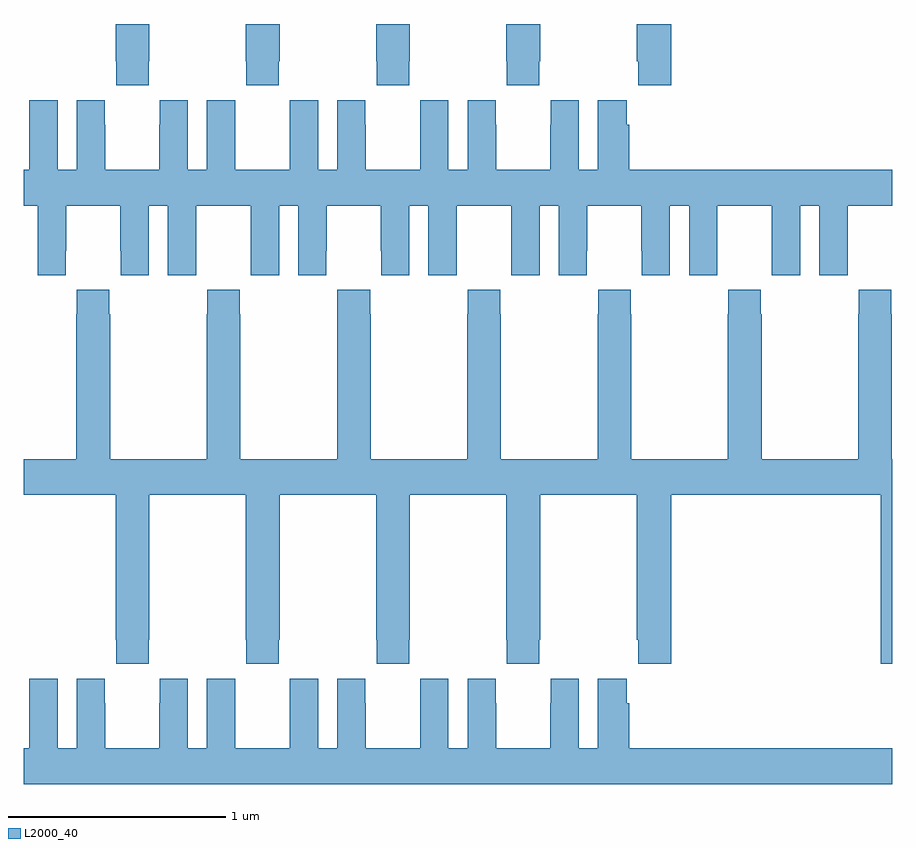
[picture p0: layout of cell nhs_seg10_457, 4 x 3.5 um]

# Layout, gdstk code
import gdstk
lib = gdstk.Library(unit=1e-6, precision=1e-09)
def P(c, l, *ps):  # polygons
    for p in ps: c.add(gdstk.Polygon(p, *l))
L2000_40 = (2000, 40)

nhs_seg10_457 = lib.new_cell('nhs_seg10_457')
P(nhs_seg10_457, L2000_40, [(133.575,1286.329),(133.578,1286.329),(133.578,1286.5),(133.423,1286.5),(133.423,1286.329),(133.425,1286.329),(133.425,1286.217),(133.575,1286.217)],
  [(134.175,1286.329),(134.178,1286.329),(134.178,1286.5),(134.023,1286.5),(134.023,1286.329),(134.025,1286.329),(134.025,1286.217),(134.175,1286.217)],
  [(134.775,1286.329),(134.778,1286.329),(134.778,1286.5),(134.623,1286.5),(134.623,1286.329),(134.625,1286.329),(134.625,1286.217),(134.775,1286.217)],
  [(135.983,1286.5),(135.823,1286.5),(135.823,1286.329),(135.829,1286.329),(135.829,1286.217),(135.983,1286.217)],
  [(135.375,1286.329),(135.378,1286.329),(135.378,1286.5),(135.223,1286.5),(135.223,1286.329),(135.225,1286.329),(135.225,1286.217),(135.375,1286.217)],
  [(134.045,1285.456),(134.046,1285.456),(134.046,1285.344),(134.176,1285.344),(134.176,1285.664),(134.264,1285.664),(134.264,1285.344),(134.394,1285.344),(134.394,1285.456),(134.395,1285.456),(134.395,1285.664),(134.645,1285.664),(134.645,1285.456),(134.646,1285.456),(134.646,1285.344),(134.776,1285.344),(134.776,1285.664),(134.864,1285.664),(134.864,1285.344),(134.994,1285.344),(134.994,1285.456),(134.995,1285.456),(134.995,1285.664),(135.245,1285.664),(135.245,1285.456),(135.246,1285.456),(135.246,1285.344),(135.376,1285.344),(135.376,1285.664),(135.464,1285.664),(135.464,1285.344),(135.594,1285.344),(135.594,1285.456),(135.595,1285.456),(135.595,1285.664),(135.845,1285.664),(135.845,1285.456),(135.846,1285.456),(135.846,1285.344),(135.976,1285.344),(135.976,1285.664),(136.064,1285.664),(136.064,1285.344),(136.194,1285.344),(136.194,1285.456),(136.195,1285.456),(136.195,1285.664),(136.445,1285.664),(136.445,1285.456),(136.446,1285.456),(136.446,1285.344),(136.576,1285.344),(136.576,1285.664),(136.664,1285.664),(136.664,1285.344),(136.794,1285.344),(136.794,1285.456),(136.795,1285.456),(136.795,1285.664),(137,1285.664),(137,1285.828),(135.788,1285.828),(135.788,1286.036),(135.778,1286.036),(135.778,1286.149),(135.644,1286.149),(135.644,1285.828),(135.556,1285.828),(135.556,1286.149),(135.426,1286.149),(135.426,1286.036),(135.425,1286.036),(135.425,1285.828),(135.175,1285.828),(135.175,1286.036),(135.174,1286.036),(135.174,1286.149),(135.044,1286.149),(135.044,1285.828),(134.956,1285.828),(134.956,1286.149),(134.826,1286.149),(134.826,1286.036),(134.825,1286.036),(134.825,1285.828),(134.575,1285.828),(134.575,1286.036),(134.574,1286.036),(134.574,1286.149),(134.444,1286.149),(134.444,1285.828),(134.356,1285.828),(134.356,1286.149),(134.226,1286.149),(134.226,1286.036),(134.225,1286.036),(134.225,1285.828),(133.975,1285.828),(133.975,1286.036),(133.974,1286.036),(133.974,1286.149),(133.844,1286.149),(133.844,1285.828),(133.756,1285.828),(133.756,1286.149),(133.626,1286.149),(133.626,1286.036),(133.625,1286.036),(133.625,1285.828),(133.375,1285.828),(133.375,1286.036),(133.374,1286.036),(133.374,1286.149),(133.244,1286.149),(133.244,1285.828),(133.156,1285.828),(133.156,1286.149),(133.026,1286.149),(133.026,1286.036),(133.025,1286.036),(133.025,1285.828),(133,1285.828),(133,1285.664),(133.064,1285.664),(133.064,1285.344),(133.194,1285.344),(133.194,1285.456),(133.195,1285.456),(133.195,1285.664),(133.445,1285.664),(133.445,1285.456),(133.446,1285.456),(133.446,1285.344),(133.576,1285.344),(133.576,1285.664),(133.664,1285.664),(133.664,1285.344),(133.794,1285.344),(133.794,1285.456),(133.795,1285.456),(133.795,1285.664),(134.045,1285.664)],
  [(135.223,1283.665),(135.225,1283.665),(135.225,1283.553),(135.375,1283.553),(135.375,1283.665),(135.378,1283.665),(135.378,1284.332),(135.823,1284.332),(135.823,1283.665),(135.829,1283.665),(135.829,1283.553),(135.983,1283.553),(135.983,1284.332),(136.946,1284.332),(136.946,1283.553),(137,1283.553),(137,1284.496),(136.998,1284.496),(136.998,1285.163),(136.995,1285.163),(136.995,1285.276),(136.845,1285.276),(136.845,1285.163),(136.843,1285.163),(136.843,1284.496),(136.398,1284.496),(136.398,1285.163),(136.395,1285.163),(136.395,1285.276),(136.245,1285.276),(136.245,1285.163),(136.243,1285.163),(136.243,1284.496),(135.798,1284.496),(135.798,1285.163),(135.795,1285.163),(135.795,1285.276),(135.645,1285.276),(135.645,1285.163),(135.643,1285.163),(135.643,1284.496),(135.198,1284.496),(135.198,1285.163),(135.195,1285.163),(135.195,1285.276),(135.045,1285.276),(135.045,1285.163),(135.043,1285.163),(135.043,1284.496),(134.598,1284.496),(134.598,1285.163),(134.595,1285.163),(134.595,1285.276),(134.445,1285.276),(134.445,1285.163),(134.443,1285.163),(134.443,1284.496),(133.998,1284.496),(133.998,1285.163),(133.995,1285.163),(133.995,1285.276),(133.845,1285.276),(133.845,1285.163),(133.843,1285.163),(133.843,1284.496),(133.398,1284.496),(133.398,1285.163),(133.395,1285.163),(133.395,1285.276),(133.245,1285.276),(133.245,1285.163),(133.243,1285.163),(133.243,1284.496),(133,1284.496),(133,1284.332),(133.423,1284.332),(133.423,1283.665),(133.425,1283.665),(133.425,1283.553),(133.575,1283.553),(133.575,1283.665),(133.578,1283.665),(133.578,1284.332),(134.023,1284.332),(134.023,1283.665),(134.025,1283.665),(134.025,1283.553),(134.175,1283.553),(134.175,1283.665),(134.178,1283.665),(134.178,1284.332),(134.623,1284.332),(134.623,1283.665),(134.625,1283.665),(134.625,1283.553),(134.775,1283.553),(134.775,1283.665),(134.778,1283.665),(134.778,1284.332),(135.223,1284.332)],
  [(135.778,1283.372),(135.778,1283.485),(135.644,1283.485),(135.644,1283.164),(135.556,1283.164),(135.556,1283.485),(135.426,1283.485),(135.426,1283.372),(135.425,1283.372),(135.425,1283.164),(135.175,1283.164),(135.175,1283.372),(135.174,1283.372),(135.174,1283.485),(135.044,1283.485),(135.044,1283.164),(134.956,1283.164),(134.956,1283.485),(134.826,1283.485),(134.826,1283.372),(134.825,1283.372),(134.825,1283.164),(134.575,1283.164),(134.575,1283.372),(134.574,1283.372),(134.574,1283.485),(134.444,1283.485),(134.444,1283.164),(134.356,1283.164),(134.356,1283.485),(134.226,1283.485),(134.226,1283.372),(134.225,1283.372),(134.225,1283.164),(133.975,1283.164),(133.975,1283.372),(133.974,1283.372),(133.974,1283.485),(133.844,1283.485),(133.844,1283.164),(133.756,1283.164),(133.756,1283.485),(133.626,1283.485),(133.626,1283.372),(133.625,1283.372),(133.625,1283.164),(133.375,1283.164),(133.375,1283.372),(133.374,1283.372),(133.374,1283.485),(133.244,1283.485),(133.244,1283.164),(133.156,1283.164),(133.156,1283.485),(133.026,1283.485),(133.026,1283.372),(133.025,1283.372),(133.025,1283.164),(133,1283.164),(133,1283),(137,1283),(137,1283.164),(135.788,1283.164),(135.788,1283.372)])

lib.write_gds('nhs_seg10_457.gds')
